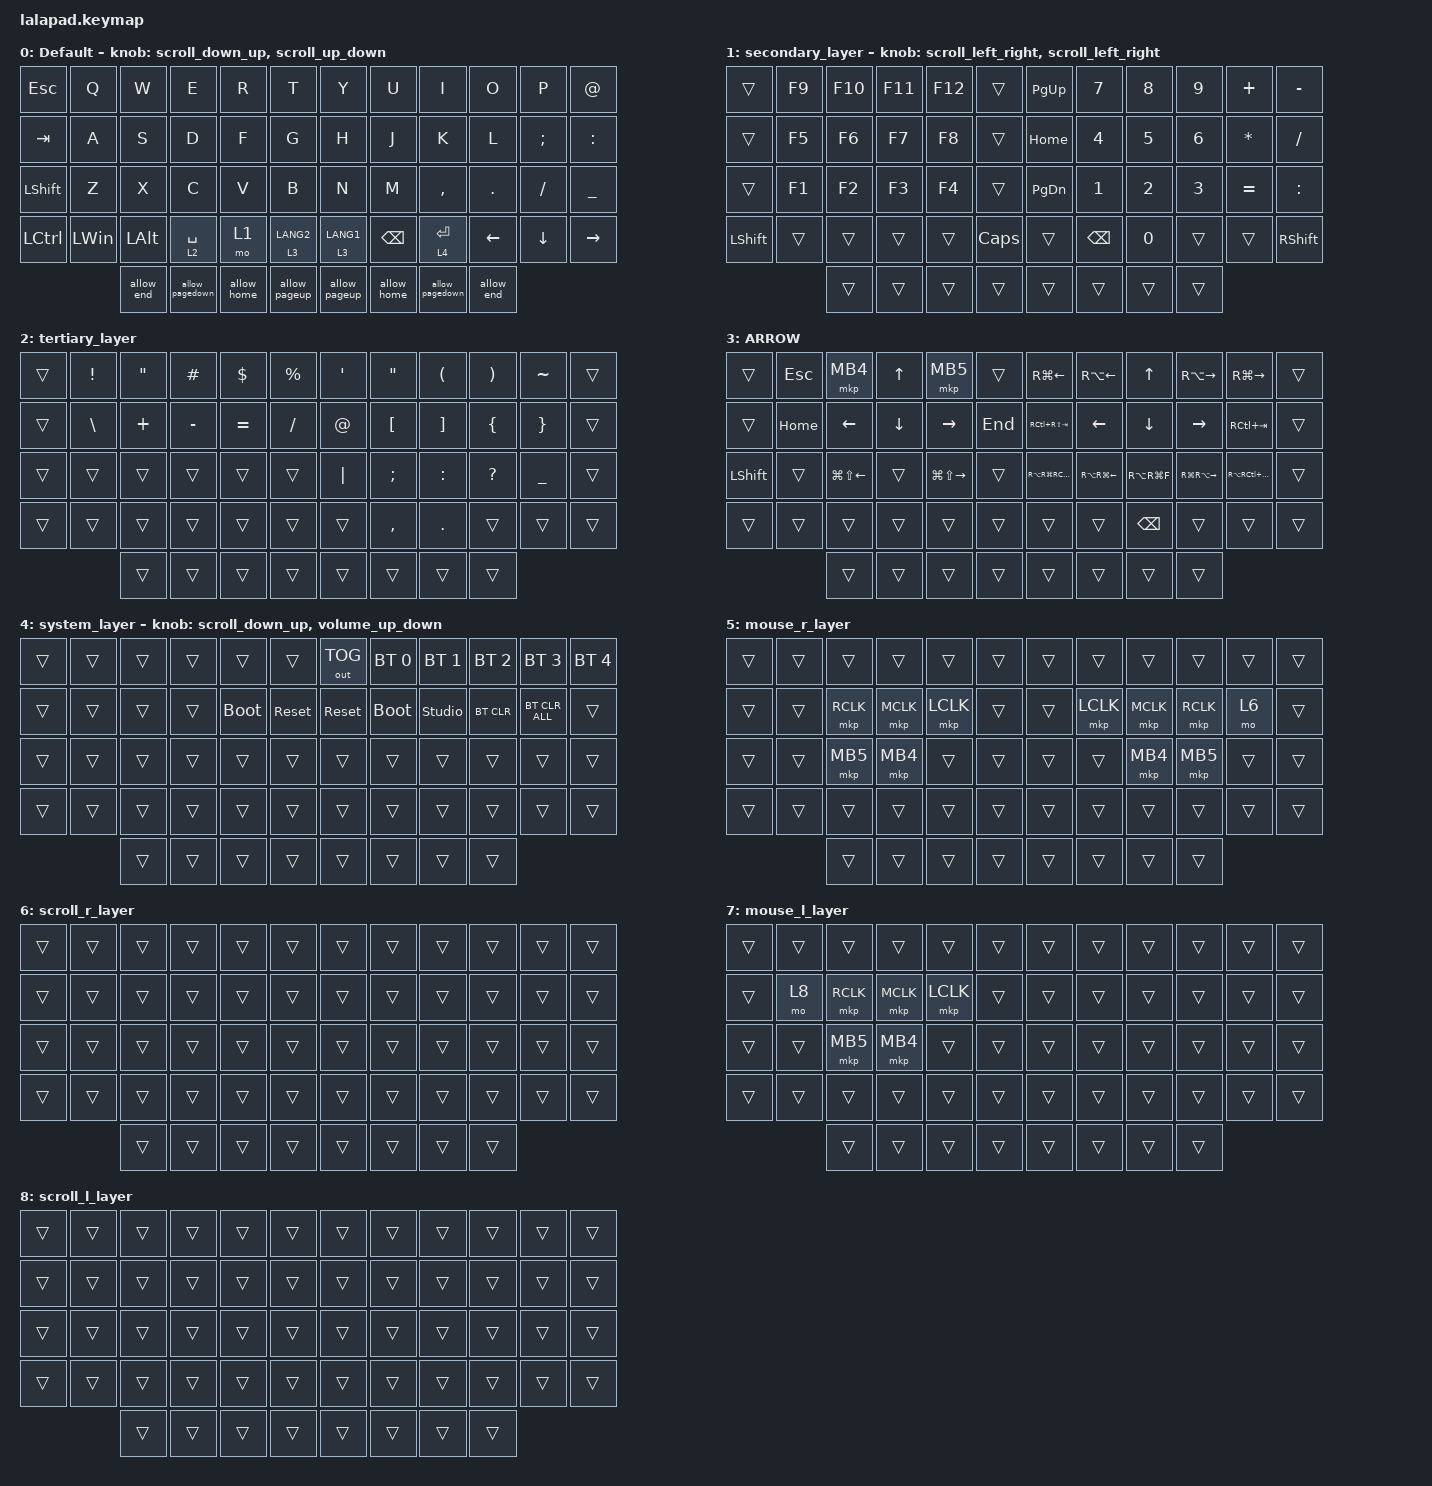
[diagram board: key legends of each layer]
#include <input/processors.dtsi>
#include <behaviors.dtsi>
#include <dt-bindings/zmk/bt.h>
#include <dt-bindings/zmk/keys.h>
#include <dt-bindings/zmk/outputs.h>
#include <dt-bindings/zmk/pointing.h>

#define DEFAULT_LAYER   0
#define SECONDARY_LAYER 1
#define TERTIARY_LAYER  2
#define ARROW_LAYER    3
#define SYSTEM_LAYER    4
#define MOUSE_R_LAYER   5
#define SCROLL_R_LAYER  6
#define MOUSE_L_LAYER   7
#define SCROLL_L_LAYER  8

// Mouse Scroll Value

#define ZMK_POINTING_DEFAULT_SCRL_VAL 100

// cirque trackpad input&layer control

&glidepoint_listener_R {
    input-processors =
        <&zip_xy_transform (INPUT_TRANSFORM_XY_SWAP | INPUT_TRANSFORM_X_INVERT | INPUT_TRANSFORM_Y_INVERT)>,
        <&zip_xy_scaler 3 2>,
        <&zip_temp_layer MOUSE_R_LAYER 500>;

    lowspeedmode {
        layers = <SECONDARY_LAYER>;
        input-processors =
            <&zip_xy_transform (INPUT_TRANSFORM_XY_SWAP | INPUT_TRANSFORM_X_INVERT | INPUT_TRANSFORM_Y_INVERT)>,
            <&zip_xy_scaler 3 5>,
            <&zip_temp_layer MOUSE_R_LAYER 500>;
    };

    scroller {
        layers = <SCROLL_R_LAYER>;
        input-processors =
            <&zip_xy_to_scroll_mapper>,
            <&zip_scroll_transform (INPUT_TRANSFORM_XY_SWAP | INPUT_TRANSFORM_Y_INVERT)>,
            <&zip_scroll_scaler 1 8>;
    };
};

&glidepoint_listener_L {
    input-processors =
        <&zip_xy_transform (INPUT_TRANSFORM_XY_SWAP | INPUT_TRANSFORM_X_INVERT | INPUT_TRANSFORM_Y_INVERT)>,
        <&zip_xy_scaler 3 2>,
        <&zip_temp_layer MOUSE_L_LAYER 500>;

    lowspeedmode {
        layers = <SECONDARY_LAYER>;
        input-processors =
            <&zip_xy_transform (INPUT_TRANSFORM_XY_SWAP | INPUT_TRANSFORM_X_INVERT | INPUT_TRANSFORM_Y_INVERT)>,
            <&zip_xy_scaler 3 4>,
            <&zip_temp_layer MOUSE_L_LAYER 500>;
    };

    scroller {
        layers = <SCROLL_L_LAYER>;
        input-processors =
            <&zip_xy_to_scroll_mapper>,
            <&zip_scroll_transform (INPUT_TRANSFORM_XY_SWAP | INPUT_TRANSFORM_Y_INVERT)>,
            <&zip_scroll_scaler 1 6>;
    };
};

/ {
    behaviors {
        // Encoder to Mouse Scroll

        scroll_up_down: sensor_scroll_up_down {
            compatible = "zmk,behavior-sensor-rotate";
            #sensor-binding-cells = <0>;
            bindings = <&msc SCRL_UP>, <&msc SCRL_DOWN>;

            tap-ms = <20>;
            label = "SCROLL_UP_DOWN";
        };

        scroll_down_up: sensor_scroll_down_up {
            compatible = "zmk,behavior-sensor-rotate";
            #sensor-binding-cells = <0>;
            bindings = <&msc SCRL_DOWN>, <&msc SCRL_UP>;

            tap-ms = <20>;
            label = "SCROLL_DOWN_UP";
        };

        scroll_left_right: sensor_scroll_left_right {
            compatible = "zmk,behavior-sensor-rotate";
            #sensor-binding-cells = <0>;
            bindings = <&msc SCRL_LEFT>, <&msc SCRL_RIGHT>;

            tap-ms = <20>;
            label = "SCROLL_LEFT_RIGHT";
        };

        scroll_right_left: sensor_scroll_right_left {
            compatible = "zmk,behavior-sensor-rotate";
            #sensor-binding-cells = <0>;
            bindings = <&msc SCRL_RIGHT>, <&msc SCRL_LEFT>;

            tap-ms = <20>;
            label = "SCROLL_RIGHT_LEFT";
        };

        volume_up_down: sensor_volume_up_down {
            compatible = "zmk,behavior-sensor-rotate";
            #sensor-binding-cells = <0>;
            bindings = <&kp C_VOLUME_UP>, <&kp C_VOLUME_DOWN>;

            tap-ms = <20>;
            label = "VOLUME_UP_DOWN";
        };

        dot_comma: dot_comma {
            compatible = "zmk,behavior-mod-morph";
            #binding-cells = <0>;
            bindings = <&kp KP_DOT>, <&kp COMMA>;

            mods = <(MOD_LSFT|MOD_RSFT)>;
            label = "DOT_COMMA";
        };

        pls_minus: pls_minus {
            compatible = "zmk,behavior-mod-morph";
            #binding-cells = <0>;
            bindings = <&kp PLUS>, <&kp MINUS>;

            mods = <(MOD_LSFT|MOD_RSFT)>;
            label = "PLS_MINUS";
        };

        allow_pageup: allow_pageup {
            compatible = "zmk,behavior-mod-morph";
            #binding-cells = <0>;
            bindings = <&kp UP>, <&kp PAGE_UP>;

            mods = <(MOD_LCTL|MOD_RCTL)>;
            label = "ALLOW_PAGEUP";
        };

        allow_pagedown: allow_pagedown {
            compatible = "zmk,behavior-mod-morph";
            #binding-cells = <0>;
            bindings = <&kp DOWN>, <&kp PAGE_DOWN>;

            mods = <(MOD_LCTL|MOD_RCTL)>;
            label = "ALLOW_PAGEDOWN";
        };

        allow_home: allow_home {
            compatible = "zmk,behavior-mod-morph";
            #binding-cells = <0>;
            bindings = <&kp LEFT>, <&kp HOME>;

            mods = <(MOD_LCTL|MOD_RCTL)>;
            label = "ALLOW_HOME";
        };

        allow_end: allow_end {
            compatible = "zmk,behavior-mod-morph";
            #binding-cells = <0>;
            bindings = <&kp RIGHT>, <&kp END>;

            mods = <(MOD_LCTL|MOD_RCTL)>;
            label = "ALLOW_END";
        };

        mt2: mod_tap2 {
            compatible = "zmk,behavior-hold-tap";
            #binding-cells = <2>;
            flavor = "tap-preferred";
            tapping-term-ms = <200>;
            quick-tap-ms = <200>;
            require-prior-idle-ms = <125>;
            bindings = <&kp>, <&kp>;
        };
    };

    keymap {
        compatible = "zmk,keymap";

        DEFAULT_LAYER {
            display-name = "Default";
            sensor-bindings = <&scroll_down_up>, <&scroll_up_down>;

            bindings = <
&kp ESC    &kp Q         &kp W         &kp E            &kp R        &kp T          &kp Y          &kp U          &kp I            &kp O       &kp P          &kp AT_SIGN
&kp TAB    &kp A         &kp S         &kp D            &kp F        &kp G          &kp H          &kp J          &kp K            &kp L       &kp SEMICOLON  &kp COLON
&kp LSHFT  &kp Z         &kp X         &kp C            &kp V        &kp B          &kp N          &kp M          &kp COMMA        &kp PERIOD  &kp SLASH      &kp UNDERSCORE
&kp LCTRL  &kp LEFT_WIN  &kp LEFT_ALT  &lt 2 SPACE      &mo 1        &lt 3 LANG2    &lt 3 LANG1    &kp BACKSPACE  &lt 4 ENTER      &kp LEFT    &kp DOWN       &kp RIGHT
                         &allow_end    &allow_pagedown  &allow_home  &allow_pageup  &allow_pageup  &allow_home    &allow_pagedown  &allow_end
            >;
        };

        NUM {
            display-name = "secondary_layer";
            sensor-bindings = <&scroll_left_right>, <&scroll_left_right>;

            bindings = <
&trans          &kp F9  &kp F10  &kp F11  &kp F12  &trans    &kp PAGE_UP    &kp NUMBER_7   &kp NUMBER_8  &kp NUMBER_9  &kp PLUS      &kp MINUS
&trans          &kp F5  &kp F6   &kp F7   &kp F8   &trans    &kp HOME       &kp NUMBER_4   &kp NUMBER_5  &kp NUMBER_6  &kp ASTERISK  &kp SLASH
&trans          &kp F1  &kp F2   &kp F3   &kp F4   &trans    &kp PAGE_DOWN  &kp NUMBER_1   &kp NUMBER_2  &kp NUMBER_3  &kp EQUAL     &kp COLON
&kp LEFT_SHIFT  &trans  &trans   &trans   &trans   &kp CAPS  &trans         &kp BACKSPACE  &kp NUMBER_0  &trans        &trans        &kp RIGHT_SHIFT
                        &trans   &trans   &trans   &trans    &trans         &trans         &trans        &trans
            >;
        };

        SYMBOL {
            display-name = "tertiary_layer";
            bindings = <
&trans  &kp EXCLAMATION  &kp DOUBLE_QUOTES  &kp HASH   &kp DOLLAR  &kp PERCENT  &kp SQT      &kp DOUBLE_QUOTES  &kp LEFT_PARENTHESIS  &kp RIGHT_PARENTHESIS  &kp TILDE        &trans
&trans  &kp BACKSLASH    &kp PLUS           &kp MINUS  &kp EQUAL   &kp SLASH    &kp AT_SIGN  &kp LEFT_BRACKET   &kp RIGHT_BRACKET     &kp LEFT_BRACE         &kp RIGHT_BRACE  &trans
&trans  &trans           &trans             &trans     &trans      &trans       &kp PIPE     &kp SEMICOLON      &kp COLON             &kp QUESTION           &kp UNDERSCORE   &trans
&trans  &trans           &trans             &trans     &trans      &trans       &trans       &kp COMMA          &kp PERIOD            &trans                 &trans           &trans
                         &trans             &trans     &trans      &trans       &trans       &trans             &trans                &trans
            >;
        };

        ARROW {
            bindings = <
&trans          &kp ESCAPE  &mkp MB4                &kp UP_ARROW    &mkp MB5                 &trans   &kp RG(LEFT_ARROW)          &kp RA(LEFT_ARROW)      &kp UP_ARROW    &kp RA(RIGHT_ARROW)      &kp RG(RIGHT_ARROW)          &trans
&trans          &kp HOME    &kp LEFT_ARROW          &kp DOWN_ARROW  &kp RIGHT_ARROW          &kp END  &kp RC(RS(TAB))             &kp LEFT_ARROW          &kp DOWN_ARROW  &kp RIGHT_ARROW          &kp RC(TAB)                  &trans
&kp LEFT_SHIFT  &trans      &kp LG(LS(LEFT_ARROW))  &trans          &kp LG(LS(RIGHT_ARROW))  &trans   &kp RA(RG(RC(LEFT_ARROW)))  &kp RA(RG(LEFT_ARROW))  &kp RA(RG(F))   &kp RG(RA(RIGHT_ARROW))  &kp RA(RC(RG(RIGHT_ARROW)))  &trans
&trans          &trans      &trans                  &trans          &trans                   &trans   &trans                      &trans                  &kp BACKSPACE   &trans                   &trans                       &trans
                            &trans                  &trans          &trans                   &trans   &trans                      &trans                  &trans          &trans
            >;
        };

        SYSTEM_LAYER {
            display-name = "system_layer";
            sensor-bindings = <&scroll_down_up>, <&volume_up_down>;

            bindings = <
&trans  &trans  &trans  &trans  &trans       &trans      &out OUT_TOG  &bt BT_SEL 0  &bt BT_SEL 1    &bt BT_SEL 2  &bt BT_SEL 3    &bt BT_SEL 4
&trans  &trans  &trans  &trans  &bootloader  &sys_reset  &sys_reset    &bootloader   &studio_unlock  &bt BT_CLR    &bt BT_CLR_ALL  &trans
&trans  &trans  &trans  &trans  &trans       &trans      &trans        &trans        &trans          &trans        &trans          &trans
&trans  &trans  &trans  &trans  &trans       &trans      &trans        &trans        &trans          &trans        &trans          &trans
                &trans  &trans  &trans       &trans      &trans        &trans        &trans          &trans
            >;
        };

        MOUSE_R_LAYER {
            display-name = "mouse_r_layer";
            bindings = <
&trans  &trans  &trans     &trans     &trans     &trans  &trans  &trans     &trans     &trans     &trans  &trans
&trans  &trans  &mkp RCLK  &mkp MCLK  &mkp LCLK  &trans  &trans  &mkp LCLK  &mkp MCLK  &mkp RCLK  &mo 6   &trans
&trans  &trans  &mkp MB5   &mkp MB4   &trans     &trans  &trans  &trans     &mkp MB4   &mkp MB5   &trans  &trans
&trans  &trans  &trans     &trans     &trans     &trans  &trans  &trans     &trans     &trans     &trans  &trans
                &trans     &trans     &trans     &trans  &trans  &trans     &trans     &trans
            >;
        };

        SCROLL_R_LAYER {
            display-name = "scroll_r_layer";
            bindings = <
&trans  &trans  &trans  &trans  &trans  &trans  &trans  &trans  &trans  &trans  &trans  &trans
&trans  &trans  &trans  &trans  &trans  &trans  &trans  &trans  &trans  &trans  &trans  &trans
&trans  &trans  &trans  &trans  &trans  &trans  &trans  &trans  &trans  &trans  &trans  &trans
&trans  &trans  &trans  &trans  &trans  &trans  &trans  &trans  &trans  &trans  &trans  &trans
                &trans  &trans  &trans  &trans  &trans  &trans  &trans  &trans
            >;
        };

        MOUSE_L_LAYER {
            display-name = "mouse_l_layer";
            bindings = <
&trans  &trans  &trans     &trans     &trans     &trans  &trans  &trans  &trans  &trans  &trans  &trans
&trans  &mo 8   &mkp RCLK  &mkp MCLK  &mkp LCLK  &trans  &trans  &trans  &trans  &trans  &trans  &trans
&trans  &trans  &mkp MB5   &mkp MB4   &trans     &trans  &trans  &trans  &trans  &trans  &trans  &trans
&trans  &trans  &trans     &trans     &trans     &trans  &trans  &trans  &trans  &trans  &trans  &trans
                &trans     &trans     &trans     &trans  &trans  &trans  &trans  &trans
            >;
        };

        SCROLL_L_LAYER {
            display-name = "scroll_l_layer";
            bindings = <
&trans  &trans  &trans  &trans  &trans  &trans  &trans  &trans  &trans  &trans  &trans  &trans
&trans  &trans  &trans  &trans  &trans  &trans  &trans  &trans  &trans  &trans  &trans  &trans
&trans  &trans  &trans  &trans  &trans  &trans  &trans  &trans  &trans  &trans  &trans  &trans
&trans  &trans  &trans  &trans  &trans  &trans  &trans  &trans  &trans  &trans  &trans  &trans
                &trans  &trans  &trans  &trans  &trans  &trans  &trans  &trans
            >;
        };
    };
};
